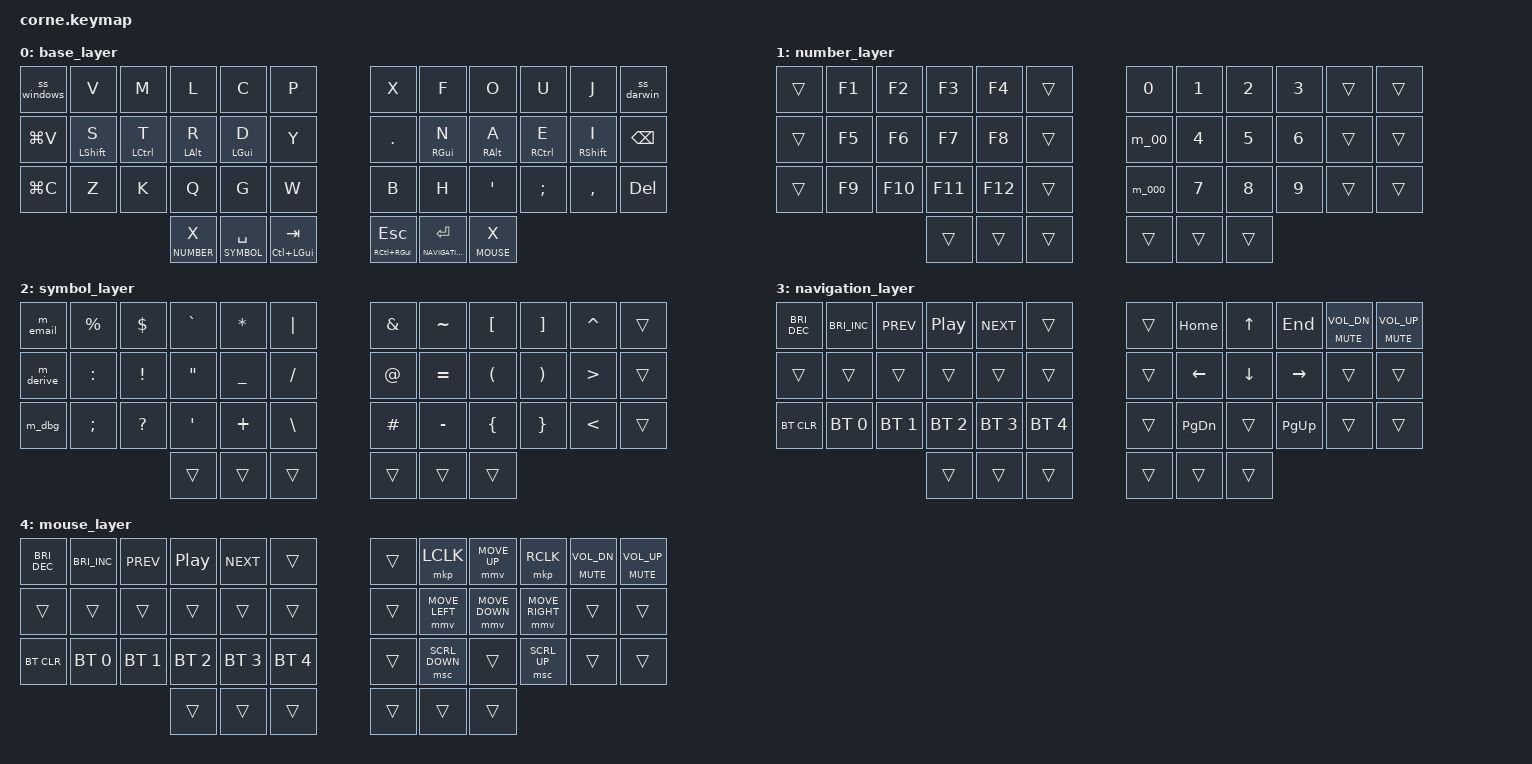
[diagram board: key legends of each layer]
#include <behaviors.dtsi>
#include <dt-bindings/zmk/keys.h>
#include <dt-bindings/zmk/mouse.h>
#include <dt-bindings/zmk/bt.h>

#define BASE       0
#define NUMBER     1
#define SYMBOL     2
#define NAVIGATION 3
#define MOUSE      4

/ {
    macros {
        m_email: m_email {
            compatible = "zmk,behavior-macro";
            wait-ms = <0>;
            tap-ms = <0>;
            #binding-cells = <0>;
            bindings = <&kp AT &kp R &kp G &kp B &kp C &kp U &kp DOT &kp B &kp E>;
        };

        m_derive: m_derive {
            compatible = "zmk,behavior-macro";
            wait-ms = <0>;
            tap-ms = <0>;
            #binding-cells = <0>;
            bindings = <&kp HASH &kp LBKT &kp D &kp E &kp R &kp I &kp V &kp E &kp LPAR>;
        };

        m_dbg: m_dbg {
            compatible = "zmk,behavior-macro";
            wait-ms = <0>;
            tap-ms = <0>;
            #binding-cells = <0>;
            bindings = <&kp M &kp S &kp LPAR &kp I &kp D &kp B &kp G &kp EXCL &kp ESC>;
        };

        m_000: m_000 {
            compatible = "zmk,behavior-macro";
            #binding-cells = <0>;
            bindings = <&kp KP_N0 &kp KP_N0 &kp KP_N0>;
        };

        m_00: m_00 {
            compatible = "zmk,behavior-macro";
            #binding-cells = <0>;
            bindings = <&kp KP_N0 &kp KP_N0>;
        };

        ss_windows: ss_windows {
            compatible = "zmk,behavior-macro";
            #binding-cells = <0>;
            bindings = <&kp LG(LS(S))>;
        };

        ss_darwin: ss_darwin {
            compatible = "zmk,behavior-macro";
            #binding-cells = <0>;
            bindings = <&kp LG(LC(LS(N4)))>;
        };
    };

    behaviors {
        hm: homerow_mods {
            compatible = "zmk,behavior-hold-tap";
            #binding-cells = <2>;
            tapping-term-ms = <150>;
            quick-tap-ms = <150>;
            require-prior-idle-ms = <125>;
            retro-tap;
            flavor = "balanced";
            bindings = <&kp>, <&kp>;
        };

        ht: hold_tap {
            compatible = "zmk,behavior-hold-tap";
            #binding-cells = <2>;
            tapping-term-ms = <150>;
            flavor = "balanced";
            bindings = <&kp>, <&kp>;
        };
    };

    keymap {
        compatible = "zmk,keymap";

        base_layer {
            bindings = <
&ss_windows     &kp       V     &kp       M   &kp      L     &kp      C        &kp P                    &kp X              &kp            F     &kp      O       &kp       U      &kp       J                &ss_darwin
&kp LG(V)       &hm LSHFT S     &hm LCTRL T   &hm LALT R     &hm LGUI D        &kp Y                    &kp DOT            &hm RGUI       N     &hm RALT A       &hm RCTRL E      &hm RSHFT I                &kp BSPC
&kp LG(C)       &kp       Z     &kp       K   &kp      Q     &kp      G        &kp W                    &kp B              &kp            H     &kp      SQT     &kp       SEMI   &kp       COMMA            &kp DEL
                                              &lt NUMBER X   &lt SYMBOL SPACE  &ht LC(LGUI) TAB         &ht RC(RGUI) ESC   &lt NAVIGATION RET   &lt MOUSE X
            >;
        };

        number_layer {
            bindings = <
&trans          &kp F1          &kp F2        &kp F3         &kp F4            &trans                   &kp N0             &kp N1               &kp N2           &kp N3            &trans                    &trans
&trans          &kp F5          &kp F6        &kp F7         &kp F8            &trans                   &m_00              &kp N4               &kp N5           &kp N6            &trans                    &trans
&trans          &kp F9          &kp F10       &kp F11        &kp F12           &trans                   &m_000             &kp N7               &kp N8           &kp N9            &trans                    &trans
                                              &trans         &trans            &trans                   &trans             &trans               &trans
            >;
        };

        symbol_layer {
            bindings = <
&m_email        &kp PRCNT       &kp DLLR      &kp GRAVE      &kp STAR          &kp PIPE                 &kp AMPS           &kp TILDE            &kp LBKT         &kp RBKT          &kp CARET                 &trans
&m_derive       &kp COLON       &kp EXCL      &kp DQT        &kp UNDER         &kp FSLH                 &kp AT             &kp EQUAL            &kp LPAR         &kp RPAR          &kp GT                    &trans
&m_dbg          &kp SEMI        &kp QMARK     &kp SQT        &kp PLUS          &kp BSLH                 &kp HASH           &kp MINUS            &kp LBRC         &kp RBRC          &kp LT                    &trans
                                              &trans         &trans            &trans                   &trans             &trans               &trans
            >;
        };

        navigation_layer {
            bindings = <
&kp C_BRI_DEC   &kp C_BRI_INC   &kp C_PREV    &kp C_PP       &kp C_NEXT        &trans                   &trans             &kp HOME             &kp UP           &kp END           &ht C_MUTE C_VOL_DN       &ht C_MUTE C_VOL_UP
&trans          &trans          &trans        &trans         &trans            &trans                   &trans             &kp LEFT             &kp DOWN         &kp RIGHT         &trans                    &trans
&bt BT_CLR      &bt BT_SEL 0    &bt BT_SEL 1  &bt BT_SEL 2   &bt BT_SEL 3      &bt BT_SEL 4             &trans             &kp PG_DN            &trans           &kp PG_UP         &trans                    &trans
                                              &trans         &trans            &trans                   &trans             &trans               &trans
            >;
        };

        mouse_layer {
            bindings = <
&kp C_BRI_DEC   &kp C_BRI_INC   &kp C_PREV    &kp C_PP       &kp C_NEXT        &trans                   &trans             &mkp LCLK            &mmv MOVE_UP     &mkp RCLK         &ht C_MUTE C_VOL_DN       &ht C_MUTE C_VOL_UP
&trans          &trans          &trans        &trans         &trans            &trans                   &trans             &mmv MOVE_LEFT       &mmv MOVE_DOWN   &mmv MOVE_RIGHT   &trans                    &trans
&bt BT_CLR      &bt BT_SEL 0    &bt BT_SEL 1  &bt BT_SEL 2   &bt BT_SEL 3      &bt BT_SEL 4             &trans             &msc SCRL_DOWN       &trans           &msc SCRL_UP      &trans                    &trans
                                              &trans         &trans            &trans                   &trans             &trans               &trans
            >;
        };
    };
};
